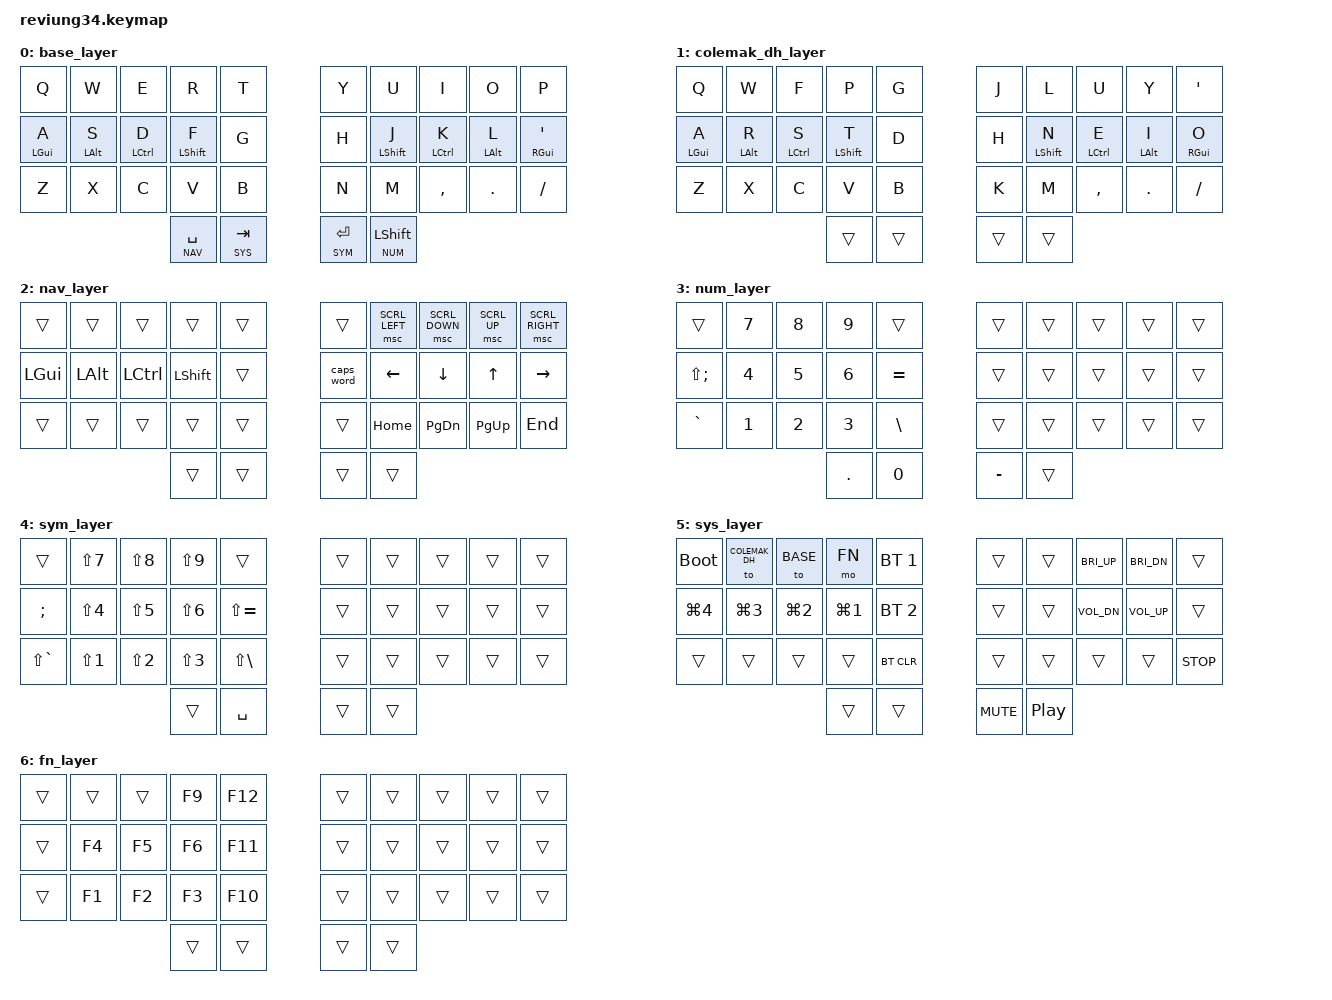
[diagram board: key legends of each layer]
#include <behaviors.dtsi>
#include <dt-bindings/zmk/keys.h>
#include <dt-bindings/zmk/bt.h>
#include <dt-bindings/zmk/mouse.h>
#include <dt-bindings/zmk/outputs.h>

#define BASE 0
#define COLEMAK_DH 1
#define NAV 2
#define NUM 3
#define SYM 4
#define SYS 5
#define FN 6

/ {
  behaviors {
    hml: homerow_mods_left {
      compatible = "zmk,behavior-hold-tap";
      #binding-cells = <2>;
      tapping-term-ms = <200>;
      quick-tap-ms = <175>;
      require-prior-idle-ms = <300>;
      flavor = "balanced";
      bindings = <&kp>, <&kp>;
    };

    hmr: homerow_mods_right {
      compatible = "zmk,behavior-hold-tap";
      #binding-cells = <2>;
      tapping-term-ms = <200>;
      quick-tap-ms = <175>;
      require-prior-idle-ms = <300>;
      flavor = "balanced";
      bindings = <&kp>, <&kp>;
    };

    lt_sk: layer_tap_sticky_key {
      compatible = "zmk,behavior-hold-tap";
      #binding-cells = <2>;
      tapping-term-ms = <200>;
      flavor = "tap-preferred";
      bindings = <&mo>, <&sk>;
    };
  };

  combos {
    compatible = "zmk,combos";

    combo_qw_esc {
      timeout-ms = <50>;
      key-positions = <0 1>;
      bindings = <&kp ESC>;
    };

    combo_we_esc {
      timeout-ms = <50>;
      key-positions = <1 2>;
      bindings = <&kp ESC>;
    };

    combo_ds_save {
      timeout-ms = <50>;
      key-positions = <11 12>;
      bindings = <&kp LC(S)>;
    };

    combo_dfg_cut {
      timeout-ms = <50>;
      key-positions = <12 13 14>;
      bindings = <&kp LC(LS(F))>;
    };

    combo_zx_copy {
      timeout-ms = <50>;
      key-positions = <20 21>;
      bindings = <&kp LC(Z)>;
    };

    combo_xc_copy {
      timeout-ms = <50>;
      key-positions = <21 22>;
      bindings = <&kp LC(X)>;
    };

    combo_cv_undo {
      timeout-ms = <50>;
      key-positions = <22 23>;
      bindings = <&kp LC(C)>;
    };

    combo_vb_undo {
      timeout-ms = <50>;
      key-positions = <23 24>;
      bindings = <&kp LC(V)>;
    };

    combo_ui_bksp {
      timeout-ms = <50>;
      key-positions = <6 7>;
      bindings = <&kp BSPC>;
    };

    combo_io_del {
      timeout-ms = <50>;
      key-positions = <7 8>;
      bindings = <&kp DEL>;
    };

    combo_jk_lparen {
      timeout-ms = <50>;
      key-positions = <16 17>;
      bindings = <&kp LPAR>;
    };

    combo_kl_rparen {
      timeout-ms = <50>;
      key-positions = <17 18>;
      bindings = <&kp RPAR>;
    };

    combo_mcom_lbrack {
      timeout-ms = <50>;
      key-positions = <26 27>;
      bindings = <&kp LBKT>;
    };

    combo_comdot_rbrack {
      timeout-ms = <50>;
      key-positions = <27 28>;
      bindings = <&kp RBKT>;
    };

    combo_jm_dash {
      timeout-ms = <50>;
      key-positions = <16 26>;
      bindings = <&kp MINUS>;
    };

    combo_hn_unds {
      timeout-ms = <50>;
      key-positions = <15 25>;
      bindings = <&kp UNDER>;
    };

    combo_kcom_semi {
      timeout-ms = <50>;
      key-positions = <17 27>;
      bindings = <&kp SEMI>;
    };

    combo_ldot_coln {
      timeout-ms = <50>;
      key-positions = <18 28>;
      bindings = <&kp COLON>;
    };

    combo_slash_ques {
      timeout-ms = <50>;
      key-positions = <19 29>;
      bindings = <&kp QMARK>;
    };

    combo_sticky_shift {
      timeout-ms = <50>;
      key-positions = <30 33>;
      layers = <BASE>;
      bindings = <&sk LSHFT>;
    };

  };

  keymap {
    compatible = "zmk,keymap";

    base_layer {
      bindings = <
        &kp Q           &kp W           &kp E           &kp R           &kp T               &kp Y           &kp U           &kp I           &kp O           &kp P
        &hml LGUI A     &hml LALT S     &hml LCTRL D    &hml LSHFT F    &kp G               &kp H           &hmr LSHFT J    &hmr LCTRL K    &hmr LALT L     &hmr RGUI SQT
        &kp Z           &kp X           &kp C           &kp V           &kp B               &kp N           &kp M           &kp COMMA       &kp DOT         &kp FSLH
                        &lt NAV SPACE   &lt SYS TAB     &lt SYM ENTER       &lt_sk NUM LSHFT
      >;
    };

    colemak_dh_layer {
      bindings = <
        &kp Q           &kp W           &kp F           &kp P           &kp G               &kp J           &kp L           &kp U           &kp Y           &kp SQT
        &hml LGUI A     &hml LALT R     &hml LCTRL S    &hml LSHFT T    &kp D               &kp H           &hmr LSHFT N    &hmr LCTRL E    &hmr LALT I     &hmr RGUI O
        &kp Z           &kp X           &kp C           &kp V           &kp B               &kp K           &kp M           &kp COMMA       &kp DOT         &kp FSLH
                        &trans          &trans          &trans              &trans
      >;
    };

    nav_layer {
      bindings = <
        &trans          &trans          &trans          &trans          &trans              &trans          &msc SCRL_LEFT  &msc SCRL_DOWN  &msc SCRL_UP    &msc SCRL_RIGHT
        &kp LGUI        &kp LALT        &kp LCTRL       &kp LSHFT       &trans              &caps_word      &kp LEFT        &kp DOWN        &kp UP          &kp RIGHT
        &trans          &trans          &trans          &trans          &trans              &trans          &kp HOME        &kp PG_DN       &kp PG_UP       &kp END
                        &trans          &trans          &trans              &trans
      >;
    };

    num_layer {
      bindings = <
        &trans          &kp N7          &kp N8          &kp N9          &trans              &trans          &trans          &trans          &trans          &trans
        &kp LS(SEMI)    &kp N4          &kp N5          &kp N6          &kp EQUAL           &trans          &trans          &trans          &trans          &trans
        &kp GRAVE       &kp N1          &kp N2          &kp N3          &kp BSLH            &trans          &trans          &trans          &trans          &trans
                        &kp DOT         &kp N0          &kp MINUS           &trans
      >;
    };

    sym_layer {
      bindings = <
        &trans          &kp LS(N7)      &kp LS(N8)      &kp LS(N9)      &trans              &trans          &trans          &trans          &trans          &trans
        &kp SEMI        &kp LS(N4)      &kp LS(N5)      &kp LS(N6)      &kp LS(EQUAL)       &trans          &trans          &trans          &trans          &trans
        &kp LS(GRAVE)   &kp LS(N1)      &kp LS(N2)      &kp LS(N3)      &kp LS(BSLH)        &trans          &trans          &trans          &trans          &trans
                        &trans          &kp SPACE       &trans              &trans
      >;
    };

    sys_layer {
      bindings = <
        &bootloader     &to COLEMAK_DH  &to BASE        &mo FN         &bt BT_SEL 1        &trans          &trans          &kp C_BRI_UP    &kp C_BRI_DN    &trans
        &kp LG(N4)      &kp LG(N3)      &kp LG(N2)      &kp LG(N1)     &bt BT_SEL 2        &trans          &trans          &kp C_VOL_DN    &kp C_VOL_UP    &trans
        &trans          &trans          &trans          &trans          &bt BT_CLR          &trans          &trans          &trans          &trans          &kp C_STOP
                        &trans          &trans          &kp C_MUTE      &kp C_PP
      >;
    };

    fn_layer {
      bindings = <
        &trans          &trans          &trans          &kp F9         &kp F12             &trans          &trans          &trans          &trans          &trans
        &trans          &kp F4          &kp F5          &kp F6          &kp F11             &trans          &trans          &trans          &trans          &trans
        &trans          &kp F1          &kp F2          &kp F3          &kp F10             &trans          &trans          &trans          &trans          &trans
                        &trans          &trans          &trans          &trans
      >;
    };
  };
};

&sk {
  release-after-ms = <2000>;
  quick-release;
};
